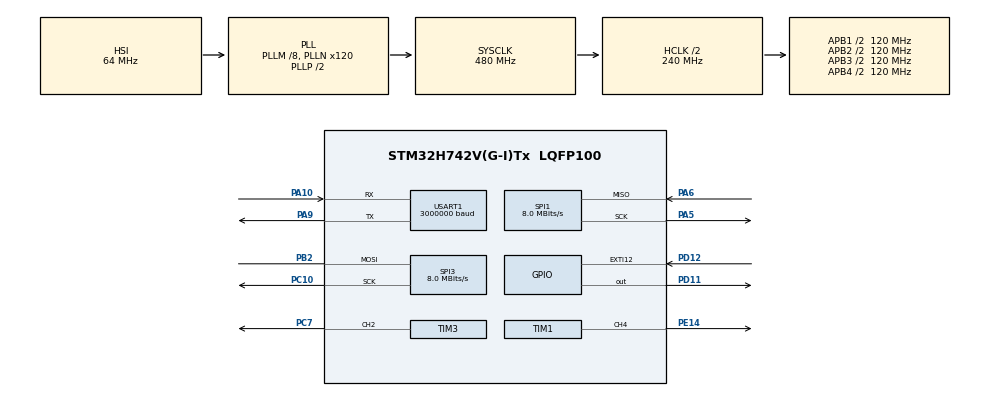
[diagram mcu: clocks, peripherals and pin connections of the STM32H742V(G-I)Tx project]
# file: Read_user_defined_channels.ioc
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CORTEX_M7.default_mode_Activation=1
Dma.Request0=SPI1_RX
Dma.Request1=USART1_TX
Dma.Request2=USART1_RX
Dma.SPI1_RX.0.Direction=DMA_PERIPH_TO_MEMORY
Dma.SPI1_RX.0.EventEnable=DISABLE
Dma.SPI1_RX.0.FIFOMode=DMA_FIFOMODE_DISABLE
Dma.SPI1_RX.0.Instance=DMA1_Stream0
Dma.SPI1_RX.0.MemDataAlignment=DMA_MDATAALIGN_HALFWORD
Dma.SPI1_RX.0.MemInc=DMA_MINC_ENABLE
Dma.SPI1_RX.0.Mode=DMA_NORMAL
Dma.SPI1_RX.0.PeriphDataAlignment=DMA_PDATAALIGN_HALFWORD
Dma.SPI1_RX.0.PeriphInc=DMA_PINC_DISABLE
Dma.SPI1_RX.0.Polarity=HAL_DMAMUX_REQ_GEN_RISING
Dma.SPI1_RX.0.Priority=DMA_PRIORITY_HIGH
Dma.SPI1_RX.0.RequestNumber=1
Dma.SPI1_RX.0.SignalID=NONE
Dma.SPI1_RX.0.SyncEnable=DISABLE
Dma.SPI1_RX.0.SyncPolarity=HAL_DMAMUX_SYNC_NO_EVENT
Dma.SPI1_RX.0.SyncRequestNumber=1
Dma.SPI1_RX.0.SyncSignalID=NONE
Dma.USART1_RX.2.Direction=DMA_PERIPH_TO_MEMORY
Dma.USART1_RX.2.EventEnable=DISABLE
Dma.USART1_RX.2.FIFOMode=DMA_FIFOMODE_DISABLE
Dma.USART1_RX.2.Instance=DMA1_Stream2
Dma.USART1_RX.2.MemDataAlignment=DMA_MDATAALIGN_BYTE
Dma.USART1_RX.2.MemInc=DMA_MINC_ENABLE
Dma.USART1_RX.2.Mode=DMA_CIRCULAR
Dma.USART1_RX.2.PeriphDataAlignment=DMA_PDATAALIGN_BYTE
Dma.USART1_RX.2.PeriphInc=DMA_PINC_DISABLE
Dma.USART1_RX.2.Polarity=HAL_DMAMUX_REQ_GEN_RISING
Dma.USART1_RX.2.Priority=DMA_PRIORITY_LOW
Dma.USART1_RX.2.RequestNumber=1
Dma.USART1_RX.2.SignalID=NONE
Dma.USART1_RX.2.SyncEnable=DISABLE
Dma.USART1_RX.2.SyncPolarity=HAL_DMAMUX_SYNC_NO_EVENT
Dma.USART1_RX.2.SyncRequestNumber=1
Dma.USART1_RX.2.SyncSignalID=NONE
Dma.USART1_TX.1.Direction=DMA_MEMORY_TO_PERIPH
Dma.USART1_TX.1.EventEnable=DISABLE
Dma.USART1_TX.1.FIFOMode=DMA_FIFOMODE_DISABLE
Dma.USART1_TX.1.Instance=DMA1_Stream1
Dma.USART1_TX.1.MemDataAlignment=DMA_MDATAALIGN_BYTE
Dma.USART1_TX.1.MemInc=DMA_MINC_ENABLE
Dma.USART1_TX.1.Mode=DMA_NORMAL
Dma.USART1_TX.1.PeriphDataAlignment=DMA_PDATAALIGN_BYTE
Dma.USART1_TX.1.PeriphInc=DMA_PINC_DISABLE
Dma.USART1_TX.1.Polarity=HAL_DMAMUX_REQ_GEN_RISING
Dma.USART1_TX.1.Priority=DMA_PRIORITY_LOW
Dma.USART1_TX.1.RequestNumber=1
Dma.USART1_TX.1.SignalID=NONE
Dma.USART1_TX.1.SyncEnable=DISABLE
Dma.USART1_TX.1.SyncPolarity=HAL_DMAMUX_SYNC_NO_EVENT
Dma.USART1_TX.1.SyncRequestNumber=1
Dma.USART1_TX.1.SyncSignalID=NONE
Mcu.Family=STM32H7
Mcu.Name=STM32H742V(G-I)Tx
Mcu.Package=LQFP100
NVIC.DMA1_Stream0_IRQn=true\:0\:0\:false\:false\:true\:false\:true\:true
NVIC.DMA1_Stream1_IRQn=true\:0\:0\:false\:false\:true\:false\:true\:true
NVIC.DMA1_Stream2_IRQn=true\:0\:0\:false\:false\:true\:false\:true\:true
NVIC.EXTI15_10_IRQn=true\:0\:0\:false\:false\:true\:true\:true\:true
NVIC.PriorityGroup=NVIC_PRIORITYGROUP_4
NVIC.SPI1_IRQn=true\:0\:0\:false\:false\:true\:false\:true\:true
NVIC.TIM2_IRQn=true\:0\:0\:false\:false\:true\:true\:true\:true
NVIC.USART1_IRQn=true\:0\:0\:false\:false\:true\:true\:true\:true
PA10.Mode=Asynchronous
PA10.Signal=USART1_RX
PA13\ (JTMS/SWDIO).Mode=Serial_Wire
PA13\ (JTMS/SWDIO).Signal=DEBUG_JTMS-SWDIO
PA14\ (JTCK/SWCLK).Mode=Serial_Wire
PA14\ (JTCK/SWCLK).Signal=DEBUG_JTCK-SWCLK
PA5.GPIO_Speed=GPIO_SPEED_FREQ_VERY_HIGH
PA5.Mode=RX_Only_Simplex_Unidirect_Master
PA5.Signal=SPI1_SCK
PA6.GPIO_Speed=GPIO_SPEED_FREQ_VERY_HIGH
PA6.Mode=RX_Only_Simplex_Unidirect_Master
PA6.Signal=SPI1_MISO
PA9.Mode=Asynchronous
PA9.Signal=USART1_TX
PB2.GPIO_Speed=GPIO_SPEED_FREQ_VERY_HIGH
PB2.Mode=Simplex_Bidirectional_Master
PB2.Signal=SPI3_MOSI
PC10.Mode=Simplex_Bidirectional_Master
PC10.Signal=SPI3_SCK
PC7.Signal=S_TIM3_CH2
PD11.PinState=GPIO_PIN_SET
PD11.Signal=GPIO_Output
PD12.GPIO_ModeDefaultEXTI=GPIO_MODE_IT_FALLING
PD12.GPIO_PuPd=GPIO_PULLUP
PD12.Signal=GPXTI12
PE14.Signal=S_TIM1_CH4
ProjectManager.HeapSize=0x200
ProjectManager.StackSize=0x400
ProjectManager.TargetToolchain=STM32CubeIDE
RCC.ADCFreq_Value=32000000
RCC.APB1Freq_Value=120000000
RCC.APB2Freq_Value=120000000
RCC.APB3Freq_Value=120000000
RCC.APB4Freq_Value=120000000
RCC.CortexFreq_Value=480000000
RCC.D1PPRE=RCC_APB3_DIV2
RCC.D2PPRE1=RCC_APB1_DIV2
RCC.D2PPRE2=RCC_APB2_DIV2
RCC.D3PPRE=RCC_APB4_DIV2
RCC.DIVM1=8
RCC.DIVM2=8
RCC.DIVN1=120
RCC.DIVN2=64
RCC.DIVP2=16
RCC.HCLKFreq_Value=240000000
RCC.HPRE=RCC_HCLK_DIV2
RCC.PLLFRACN=0
RCC.SPI123CLockSelection=RCC_SPI123CLKSOURCE_PLL2
RCC.SYSCLKFreq_VALUE=480000000
RCC.SYSCLKSource=RCC_SYSCLKSOURCE_PLLCLK
RCC.USBFreq_Value=480000000
SH.S_TIM1_CH4.0=TIM1_CH4,PWM Generation4 CH4
SH.S_TIM3_CH2.0=TIM3_CH2,PWM Generation2 CH2
SPI1.BaudRatePrescaler=SPI_BAUDRATEPRESCALER_4
SPI1.CLKPolarity=SPI_POLARITY_LOW
SPI1.CalculateBaudRate=8.0 MBits/s
SPI1.DataSize=SPI_DATASIZE_16BIT
SPI1.Direction=SPI_DIRECTION_2LINES_RXONLY
SPI1.Mode=SPI_MODE_MASTER
SPI1.VirtualType=VM_MASTER
SPI3.BaudRatePrescaler=SPI_BAUDRATEPRESCALER_4
SPI3.CLKPhase=SPI_PHASE_2EDGE
SPI3.CalculateBaudRate=8.0 MBits/s
SPI3.DataSize=SPI_DATASIZE_12BIT
SPI3.Direction=SPI_DIRECTION_1LINE
SPI3.Mode=SPI_MODE_MASTER
SPI3.VirtualType=VM_MASTER
TIM1.Channel-PWM\ Generation4\ CH4=TIM_CHANNEL_4
TIM1.Period=11
TIM1.Pulse-PWM\ Generation4\ CH4=6
TIM1.TIM_MasterOutputTrigger=TIM_TRGO_UPDATE
TIM1.TIM_MasterSlaveMode=TIM_MASTERSLAVEMODE_ENABLE
TIM2.Period=9
TIM2.Prescaler=23
TIM3.Channel-PWM\ Generation2\ CH2=TIM_CHANNEL_2
TIM3.Period=999
TIM3.Prescaler=19
TIM3.Pulse-PWM\ Generation2\ CH2=500
TIM3.TIM_MasterSlaveMode=TIM_MASTERSLAVEMODE_DISABLE
TIM5.Prescaler=239
USART1.BaudRate=3000000
USART1.VirtualMode-Asynchronous=VM_ASYNC
VP_MEMORYMAP_VS_MEMORYMAP.Mode=CurAppReg
VP_TIM1_VS_ClockSourceINT.Mode=Internal
VP_TIM2_VS_ClockSourceINT.Mode=Internal
VP_TIM3_VS_ClockSourceINT.Mode=Internal
VP_TIM3_VS_ClockSourceITR.Mode=TriggerSource_ITR0
VP_TIM3_VS_ControllerModeGated.Mode=Gated Mode
VP_TIM5_VS_ClockSourceINT.Mode=Internal
board=custom

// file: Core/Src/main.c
/* USER CODE BEGIN Header */
/**
  ******************************************************************************
  * @file           : main.c
  * @brief          : Main program body
  ******************************************************************************
  * @attention
  *
  * Copyright (c) 2025 STMicroelectronics.
  * All rights reserved.
  *
  * This software is licensed under terms that can be found in the LICENSE file
  * in the root directory of this software component.
  * If no LICENSE file comes with this software, it is provided AS-IS.
  *
  ******************************************************************************
  */
/* USER CODE END Header */

/*LEGENDA CONFIGURAZIONE PARAMETRI VIA UART*/
/**
 * "start o start,1-n_sensors" = avvio acquisizione con n_sensors selezionati
 * "stop" = stop acquisizione
 * "r" = reset leggero, ricalibrazione soglie, MSF, inetgral, max integral
 * "rd" = reset ai parametri di default del ricostruttore, ricalibrazione soglie, MSF, inetgral, max integral
 * "set,PARAMETRO,VALORE" modalità di settaggio dei parametri del ricostruttore
 * "nw" = NW
 * "thr" = Thr_samples
 * "wup" = warmup_samples
 * "pc" = press_confirm
 * "ao" = nSamples_adaptive_offset
 * "sar" = samples_after_release
 * "mp" = min_press_sensors
 * "ns" = n_sensors
 * "sig" = press_sigma
 * "a" = alpha
 * "s2n" = signal2noise_ratio
 * "rr" =release_ratio
 */

#include "main.h"

/* USER CODE BEGIN Includes */
#include <string.h>
#include <stdio.h>
#include <stdlib.h>
#include "ForceReconstructor.h"
/* USER CODE END Includes */

/* USER CODE BEGIN PTD */
#define NUM_CHANNELS 64
#define NUM_OF_DATA 32
#define HALF_NUM_OF_DATA 16
#define DIM_TEST_PACKET 8
#define MAX_SELECTED_CHANNELS NUM_CHANNELS
#define PACKET_SIZE 64
#define OFFSET 0
typedef struct __attribute__((packed)) {
    uint8_t  header[3];      // 0x3C, 0x3E, 0x00
    uint8_t n_channels;
    uint32_t timestamp_us;   // from TIM5
    int16_t  ch[PACKET_SIZE];         // channels
    uint16_t  force[N_SENSORS];      // force values
} SamplePacket;

/* USER CODE END PTD */

SPI_HandleTypeDef hspi1;
SPI_HandleTypeDef hspi3;
DMA_HandleTypeDef hdma_spi1_rx;

TIM_HandleTypeDef htim1;
TIM_HandleTypeDef htim2;
TIM_HandleTypeDef htim3;
TIM_HandleTypeDef htim5;

UART_HandleTypeDef huart1;
DMA_HandleTypeDef hdma_usart1_tx;
DMA_HandleTypeDef hdma_usart1_rx;

/* USER CODE BEGIN PV */
// --- System state flags ---
volatile uint8_t delay_counter = 0;		// Used during the TIM2 startup sequence (test/init logic)
volatile uint8_t acq_enabled   = 0;      // Acquisition enable/disable flag (controlled via UART commands)
volatile uint8_t uart_tx_done  = 1;      // UART DMA transmission ready flag
volatile uint16_t old_pos = 0;

// --- SPI Data Buffers ---
volatile uint16_t rx_spi_buffer[NUM_OF_DATA];   // Buffer used only for the initial test pattern sequence
volatile uint16_t spi_rx_buffer[NUM_CHANNELS];  // Main SPI data buffer (64 channels), filled by DMA

// --- Test pattern verification buffers ---
uint8_t test_packet_1[DIM_TEST_PACKET];         // Extracted bytes from the first half of rx_spi_buffer
uint8_t test_packet_2[DIM_TEST_PACKET];         // Extracted bytes from the second half of rx_spi_buffer

// Reference test packet used to validate ADC test mode output
static const uint8_t ref_packet[DIM_TEST_PACKET] =
    {0x30,0x00,0x66,0xF0,0x24,0x01,0xF6,0x80};

// --- DDC232 Configuration Command ---
static const uint16_t value = 0xEC0;    // 12-bit configuration command sent via SPI3

// --- UART Transmission Packet ---
static SamplePacket pkt;                // DMA-safe data packet (static to avoid stack corruption)

// --- UART Receive Buffers ---
#define CMD_BUFFER_SIZE 128
uint8_t uart_rx_dma_buffer[CMD_BUFFER_SIZE];
char command_buffer[CMD_BUFFER_SIZE];

uint8_t channel_mask[NUM_CHANNELS];   // 1 = canale attivo
uint8_t num_active_channels = 0;

// --- Force Reconstructor ---
ForceReconstructor force_reconstructor;
float force_input[N_SENSORS];
static uint8_t tx_buffer[sizeof(SamplePacket)]; // Buffer for UART transmission (DMA-safe)
static uint16_t spi_rx_snapshot[NUM_CHANNELS]; // Snapshot of SPI data for processing (DMA-safe)
/* USER CODE END PV */

void SystemClock_Config(void);
void PeriphCommonClock_Config(void);
static void MPU_Config(void);
static void MX_GPIO_Init(void);
static void MX_DMA_Init(void);
static void MX_TIM2_Init(void);
static void MX_USART1_UART_Init(void);
static void MX_SPI3_Init(void);
static void MX_SPI1_Init(void);
static void MX_TIM1_Init(void);
static void MX_TIM3_Init(void);
static void MX_TIM5_Init(void);
/* USER CODE BEGIN PFP */
static void enable_all_channels(void);
void parse_start_command(char *cmd);
/* USER CODE END PFP */

int main(void)
{

  /* MPU Configuration--------------------------------------------------------*/
  MPU_Config();

  /* MCU Configuration--------------------------------------------------------*/

  /* Reset of all peripherals, Initializes the Flash interface and the Systick. */
  HAL_Init();

  /* Configure the system clock */
  SystemClock_Config();

  /* Configure the peripherals common clocks */
  PeriphCommonClock_Config();

  /* Initialize all configured peripherals */
  MX_GPIO_Init();
  MX_DMA_Init();
  MX_TIM2_Init();
  MX_USART1_UART_Init();
  MX_SPI3_Init();
  MX_SPI1_Init();
  MX_TIM1_Init();
  MX_TIM3_Init();
  MX_TIM5_Init();
  ForceReconstructor_Init(&force_reconstructor);
  /* USER CODE BEGIN 2 */
  HAL_UART_Receive_DMA(&huart1, uart_rx_dma_buffer, CMD_BUFFER_SIZE);
  __HAL_UART_ENABLE_IT(&huart1, UART_IT_IDLE);
  HAL_TIM_PWM_Start(&htim1, TIM_CHANNEL_4);
  HAL_TIM_Base_Start(&htim5);
  /* USER CODE END 2 */

  /* Infinite loop */
  while (1)
  {

  }
}

void SystemClock_Config(void)
{
  RCC_OscInitTypeDef RCC_OscInitStruct = {0};
  RCC_ClkInitTypeDef RCC_ClkInitStruct = {0};

  /** Supply configuration update enable
  */
  HAL_PWREx_ConfigSupply(PWR_LDO_SUPPLY);

  /** Configure the main internal regulator output voltage
  */
  __HAL_PWR_VOLTAGESCALING_CONFIG(PWR_REGULATOR_VOLTAGE_SCALE0);

  while(!__HAL_PWR_GET_FLAG(PWR_FLAG_VOSRDY)) {}

  /** Initializes the RCC Oscillators according to the specified parameters
  * in the RCC_OscInitTypeDef structure.
  */
  RCC_OscInitStruct.OscillatorType = RCC_OSCILLATORTYPE_HSI;
  RCC_OscInitStruct.HSIState = RCC_HSI_DIV1;
  RCC_OscInitStruct.HSICalibrationValue = RCC_HSICALIBRATION_DEFAULT;
  RCC_OscInitStruct.PLL.PLLState = RCC_PLL_ON;
  RCC_OscInitStruct.PLL.PLLSource = RCC_PLLSOURCE_HSI;
  RCC_OscInitStruct.PLL.PLLM = 8;
  RCC_OscInitStruct.PLL.PLLN = 120;
  RCC_OscInitStruct.PLL.PLLP = 2;
  RCC_OscInitStruct.PLL.PLLQ = 2;
  RCC_OscInitStruct.PLL.PLLR = 2;
  RCC_OscInitStruct.PLL.PLLRGE = RCC_PLL1VCIRANGE_3;
  RCC_OscInitStruct.PLL.PLLVCOSEL = RCC_PLL1VCOWIDE;
  RCC_OscInitStruct.PLL.PLLFRACN = 0;
  if (HAL_RCC_OscConfig(&RCC_OscInitStruct) != HAL_OK)
  {
    Error_Handler();
  }

  /** Initializes the CPU, AHB and APB buses clocks
  */
  RCC_ClkInitStruct.ClockType = RCC_CLOCKTYPE_HCLK|RCC_CLOCKTYPE_SYSCLK
                              |RCC_CLOCKTYPE_PCLK1|RCC_CLOCKTYPE_PCLK2
                              |RCC_CLOCKTYPE_D3PCLK1|RCC_CLOCKTYPE_D1PCLK1;
  RCC_ClkInitStruct.SYSCLKSource = RCC_SYSCLKSOURCE_PLLCLK;
  RCC_ClkInitStruct.SYSCLKDivider = RCC_SYSCLK_DIV1;
  RCC_ClkInitStruct.AHBCLKDivider = RCC_HCLK_DIV2;
  RCC_ClkInitStruct.APB3CLKDivider = RCC_APB3_DIV2;
  RCC_ClkInitStruct.APB1CLKDivider = RCC_APB1_DIV2;
  RCC_ClkInitStruct.APB2CLKDivider = RCC_APB2_DIV2;
  RCC_ClkInitStruct.APB4CLKDivider = RCC_APB4_DIV2;

  if (HAL_RCC_ClockConfig(&RCC_ClkInitStruct, FLASH_LATENCY_4) != HAL_OK)
  {
    Error_Handler();
  }
}

void PeriphCommonClock_Config(void)
{
  RCC_PeriphCLKInitTypeDef PeriphClkInitStruct = {0};

  /** Initializes the peripherals clock
  */
  PeriphClkInitStruct.PeriphClockSelection = RCC_PERIPHCLK_SPI3|RCC_PERIPHCLK_SPI1;
  PeriphClkInitStruct.PLL2.PLL2M = 8;
  PeriphClkInitStruct.PLL2.PLL2N = 64;
  PeriphClkInitStruct.PLL2.PLL2P = 16;
  PeriphClkInitStruct.PLL2.PLL2Q = 2;
  PeriphClkInitStruct.PLL2.PLL2R = 2;
  PeriphClkInitStruct.PLL2.PLL2RGE = RCC_PLL2VCIRANGE_3;
  PeriphClkInitStruct.PLL2.PLL2VCOSEL = RCC_PLL2VCOWIDE;
  PeriphClkInitStruct.PLL2.PLL2FRACN = 0;
  PeriphClkInitStruct.Spi123ClockSelection = RCC_SPI123CLKSOURCE_PLL2;
  if (HAL_RCCEx_PeriphCLKConfig(&PeriphClkInitStruct) != HAL_OK)
  {
    Error_Handler();
  }
}

static void MX_SPI1_Init(void)
{

  /* SPI1 parameter configuration*/
  hspi1.Instance = SPI1;
  hspi1.Init.Mode = SPI_MODE_MASTER;
  hspi1.Init.Direction = SPI_DIRECTION_2LINES_RXONLY;
  hspi1.Init.DataSize = SPI_DATASIZE_16BIT;
  hspi1.Init.CLKPolarity = SPI_POLARITY_LOW;
  hspi1.Init.CLKPhase = SPI_PHASE_1EDGE;
  hspi1.Init.NSS = SPI_NSS_SOFT;
  hspi1.Init.BaudRatePrescaler = SPI_BAUDRATEPRESCALER_4;
  hspi1.Init.FirstBit = SPI_FIRSTBIT_MSB;
  hspi1.Init.TIMode = SPI_TIMODE_DISABLE;
  hspi1.Init.CRCCalculation = SPI_CRCCALCULATION_DISABLE;
  hspi1.Init.CRCPolynomial = 0x0;
  hspi1.Init.NSSPMode = SPI_NSS_PULSE_ENABLE;
  hspi1.Init.NSSPolarity = SPI_NSS_POLARITY_LOW;
  hspi1.Init.FifoThreshold = SPI_FIFO_THRESHOLD_01DATA;
  hspi1.Init.TxCRCInitializationPattern = SPI_CRC_INITIALIZATION_ALL_ZERO_PATTERN;
  hspi1.Init.RxCRCInitializationPattern = SPI_CRC_INITIALIZATION_ALL_ZERO_PATTERN;
  hspi1.Init.MasterSSIdleness = SPI_MASTER_SS_IDLENESS_00CYCLE;
  hspi1.Init.MasterInterDataIdleness = SPI_MASTER_INTERDATA_IDLENESS_00CYCLE;
  hspi1.Init.MasterReceiverAutoSusp = SPI_MASTER_RX_AUTOSUSP_DISABLE;
  hspi1.Init.MasterKeepIOState = SPI_MASTER_KEEP_IO_STATE_DISABLE;
  hspi1.Init.IOSwap = SPI_IO_SWAP_DISABLE;
  if (HAL_SPI_Init(&hspi1) != HAL_OK)
  {
    Error_Handler();
  }

}

static void MX_SPI3_Init(void)
{

  /* SPI3 parameter configuration*/
  hspi3.Instance = SPI3;
  hspi3.Init.Mode = SPI_MODE_MASTER;
  hspi3.Init.Direction = SPI_DIRECTION_1LINE;
  hspi3.Init.DataSize = SPI_DATASIZE_12BIT;
  hspi3.Init.CLKPolarity = SPI_POLARITY_LOW;
  hspi3.Init.CLKPhase = SPI_PHASE_2EDGE;
  hspi3.Init.NSS = SPI_NSS_SOFT;
  hspi3.Init.BaudRatePrescaler = SPI_BAUDRATEPRESCALER_4;
  hspi3.Init.FirstBit = SPI_FIRSTBIT_MSB;
  hspi3.Init.TIMode = SPI_TIMODE_DISABLE;
  hspi3.Init.CRCCalculation = SPI_CRCCALCULATION_DISABLE;
  hspi3.Init.CRCPolynomial = 0x0;
  hspi3.Init.NSSPMode = SPI_NSS_PULSE_ENABLE;
  hspi3.Init.NSSPolarity = SPI_NSS_POLARITY_LOW;
  hspi3.Init.FifoThreshold = SPI_FIFO_THRESHOLD_01DATA;
  hspi3.Init.TxCRCInitializationPattern = SPI_CRC_INITIALIZATION_ALL_ZERO_PATTERN;
  hspi3.Init.RxCRCInitializationPattern = SPI_CRC_INITIALIZATION_ALL_ZERO_PATTERN;
  hspi3.Init.MasterSSIdleness = SPI_MASTER_SS_IDLENESS_00CYCLE;
  hspi3.Init.MasterInterDataIdleness = SPI_MASTER_INTERDATA_IDLENESS_00CYCLE;
  hspi3.Init.MasterReceiverAutoSusp = SPI_MASTER_RX_AUTOSUSP_DISABLE;
  hspi3.Init.MasterKeepIOState = SPI_MASTER_KEEP_IO_STATE_DISABLE;
  hspi3.Init.IOSwap = SPI_IO_SWAP_DISABLE;
  if (HAL_SPI_Init(&hspi3) != HAL_OK)
  {
    Error_Handler();
  }

}

static void MX_TIM1_Init(void)
{

  TIM_ClockConfigTypeDef sClockSourceConfig = {0};
  TIM_MasterConfigTypeDef sMasterConfig = {0};
  TIM_OC_InitTypeDef sConfigOC = {0};
  TIM_BreakDeadTimeConfigTypeDef sBreakDeadTimeConfig = {0};

  htim1.Instance = TIM1;
  htim1.Init.Prescaler = 0;
  htim1.Init.CounterMode = TIM_COUNTERMODE_UP;
  htim1.Init.Period = 11;
  htim1.Init.ClockDivision = TIM_CLOCKDIVISION_DIV1;
  htim1.Init.RepetitionCounter = 0;
  htim1.Init.AutoReloadPreload = TIM_AUTORELOAD_PRELOAD_DISABLE;
  if (HAL_TIM_Base_Init(&htim1) != HAL_OK)
  {
    Error_Handler();
  }
  sClockSourceConfig.ClockSource = TIM_CLOCKSOURCE_INTERNAL;
  if (HAL_TIM_ConfigClockSource(&htim1, &sClockSourceConfig) != HAL_OK)
  {
    Error_Handler();
  }
  if (HAL_TIM_PWM_Init(&htim1) != HAL_OK)
  {
    Error_Handler();
  }
  sMasterConfig.MasterOutputTrigger = TIM_TRGO_UPDATE;
  sMasterConfig.MasterOutputTrigger2 = TIM_TRGO2_RESET;
  sMasterConfig.MasterSlaveMode = TIM_MASTERSLAVEMODE_ENABLE;
  if (HAL_TIMEx_MasterConfigSynchronization(&htim1, &sMasterConfig) != HAL_OK)
  {
    Error_Handler();
  }
  sConfigOC.OCMode = TIM_OCMODE_PWM1;
  sConfigOC.Pulse = 6;
  sConfigOC.OCPolarity = TIM_OCPOLARITY_HIGH;
  sConfigOC.OCFastMode = TIM_OCFAST_DISABLE;
  sConfigOC.OCIdleState = TIM_OCIDLESTATE_RESET;
  sConfigOC.OCNIdleState = TIM_OCNIDLESTATE_RESET;
  if (HAL_TIM_PWM_ConfigChannel(&htim1, &sConfigOC, TIM_CHANNEL_4) != HAL_OK)
  {
    Error_Handler();
  }
  sBreakDeadTimeConfig.OffStateRunMode = TIM_OSSR_DISABLE;
  sBreakDeadTimeConfig.OffStateIDLEMode = TIM_OSSI_DISABLE;
  sBreakDeadTimeConfig.LockLevel = TIM_LOCKLEVEL_OFF;
  sBreakDeadTimeConfig.DeadTime = 0;
  sBreakDeadTimeConfig.BreakState = TIM_BREAK_DISABLE;
  sBreakDeadTimeConfig.BreakPolarity = TIM_BREAKPOLARITY_HIGH;
  sBreakDeadTimeConfig.BreakFilter = 0;
  sBreakDeadTimeConfig.Break2State = TIM_BREAK2_DISABLE;
  sBreakDeadTimeConfig.Break2Polarity = TIM_BREAK2POLARITY_HIGH;
  sBreakDeadTimeConfig.Break2Filter = 0;
  sBreakDeadTimeConfig.AutomaticOutput = TIM_AUTOMATICOUTPUT_DISABLE;
  if (HAL_TIMEx_ConfigBreakDeadTime(&htim1, &sBreakDeadTimeConfig) != HAL_OK)
  {
    Error_Handler();
  }
  HAL_TIM_MspPostInit(&htim1);

}

static void MX_TIM2_Init(void)
{

  TIM_ClockConfigTypeDef sClockSourceConfig = {0};
  TIM_MasterConfigTypeDef sMasterConfig = {0};

  htim2.Instance = TIM2;
  htim2.Init.Prescaler = 23;
  htim2.Init.CounterMode = TIM_COUNTERMODE_UP;
  htim2.Init.Period = 9;
  htim2.Init.ClockDivision = TIM_CLOCKDIVISION_DIV1;
  htim2.Init.AutoReloadPreload = TIM_AUTORELOAD_PRELOAD_DISABLE;
  if (HAL_TIM_Base_Init(&htim2) != HAL_OK)
  {
    Error_Handler();
  }
  sClockSourceConfig.ClockSource = TIM_CLOCKSOURCE_INTERNAL;
  if (HAL_TIM_ConfigClockSource(&htim2, &sClockSourceConfig) != HAL_OK)
  {
    Error_Handler();
  }
  sMasterConfig.MasterOutputTrigger = TIM_TRGO_RESET;
  sMasterConfig.MasterSlaveMode = TIM_MASTERSLAVEMODE_DISABLE;
  if (HAL_TIMEx_MasterConfigSynchronization(&htim2, &sMasterConfig) != HAL_OK)
  {
    Error_Handler();
  }

}

static void MX_TIM3_Init(void)
{

  TIM_ClockConfigTypeDef sClockSourceConfig = {0};
  TIM_SlaveConfigTypeDef sSlaveConfig = {0};
  TIM_MasterConfigTypeDef sMasterConfig = {0};
  TIM_OC_InitTypeDef sConfigOC = {0};

  htim3.Instance = TIM3;
  htim3.Init.Prescaler = 19;
  htim3.Init.CounterMode = TIM_COUNTERMODE_UP;
  htim3.Init.Period = 999;
  htim3.Init.ClockDivision = TIM_CLOCKDIVISION_DIV1;
  htim3.Init.AutoReloadPreload = TIM_AUTORELOAD_PRELOAD_DISABLE;
  if (HAL_TIM_Base_Init(&htim3) != HAL_OK)
  {
    Error_Handler();
  }
  sClockSourceConfig.ClockSource = TIM_CLOCKSOURCE_INTERNAL;
  if (HAL_TIM_ConfigClockSource(&htim3, &sClockSourceConfig) != HAL_OK)
  {
    Error_Handler();
  }
  if (HAL_TIM_PWM_Init(&htim3) != HAL_OK)
  {
    Error_Handler();
  }
  sSlaveConfig.SlaveMode = TIM_SLAVEMODE_GATED;
  sSlaveConfig.InputTrigger = TIM_TS_ITR0;
  if (HAL_TIM_SlaveConfigSynchro(&htim3, &sSlaveConfig) != HAL_OK)
  {
    Error_Handler();
  }
  sMasterConfig.MasterOutputTrigger = TIM_TRGO_RESET;
  sMasterConfig.MasterSlaveMode = TIM_MASTERSLAVEMODE_DISABLE;
  if (HAL_TIMEx_MasterConfigSynchronization(&htim3, &sMasterConfig) != HAL_OK)
  {
    Error_Handler();
  }
  sConfigOC.OCMode = TIM_OCMODE_PWM1;
  sConfigOC.Pulse = 500;
  sConfigOC.OCPolarity = TIM_OCPOLARITY_HIGH;
  sConfigOC.OCFastMode = TIM_OCFAST_DISABLE;
  if (HAL_TIM_PWM_ConfigChannel(&htim3, &sConfigOC, TIM_CHANNEL_2) != HAL_OK)
  {
    Error_Handler();
  }
  HAL_TIM_MspPostInit(&htim3);

}

static void MX_TIM5_Init(void)
{

  TIM_ClockConfigTypeDef sClockSourceConfig = {0};
  TIM_MasterConfigTypeDef sMasterConfig = {0};

  htim5.Instance = TIM5;
  htim5.Init.Prescaler = 239;
  htim5.Init.CounterMode = TIM_COUNTERMODE_UP;
  htim5.Init.Period = 4294967295;
  htim5.Init.ClockDivision = TIM_CLOCKDIVISION_DIV1;
  htim5.Init.AutoReloadPreload = TIM_AUTORELOAD_PRELOAD_DISABLE;
  if (HAL_TIM_Base_Init(&htim5) != HAL_OK)
  {
    Error_Handler();
  }
  sClockSourceConfig.ClockSource = TIM_CLOCKSOURCE_INTERNAL;
  if (HAL_TIM_ConfigClockSource(&htim5, &sClockSourceConfig) != HAL_OK)
  {
    Error_Handler();
  }
  sMasterConfig.MasterOutputTrigger = TIM_TRGO_RESET;
  sMasterConfig.MasterSlaveMode = TIM_MASTERSLAVEMODE_DISABLE;
  if (HAL_TIMEx_MasterConfigSynchronization(&htim5, &sMasterConfig) != HAL_OK)
  {
    Error_Handler();
  }

}

static void MX_USART1_UART_Init(void)
{

  huart1.Instance = USART1;
  huart1.Init.BaudRate = 3000000;
  huart1.Init.WordLength = UART_WORDLENGTH_8B;
  huart1.Init.StopBits = UART_STOPBITS_1;
  huart1.Init.Parity = UART_PARITY_NONE;
  huart1.Init.Mode = UART_MODE_TX_RX;
  huart1.Init.HwFlowCtl = UART_HWCONTROL_NONE;
  huart1.Init.OverSampling = UART_OVERSAMPLING_16;
  huart1.Init.OneBitSampling = UART_ONE_BIT_SAMPLE_DISABLE;
  huart1.Init.ClockPrescaler = UART_PRESCALER_DIV1;
  huart1.AdvancedInit.AdvFeatureInit = UART_ADVFEATURE_NO_INIT;
  if (HAL_UART_Init(&huart1) != HAL_OK)
  {
    Error_Handler();
  }
  if (HAL_UARTEx_SetTxFifoThreshold(&huart1, UART_TXFIFO_THRESHOLD_1_8) != HAL_OK)
  {
    Error_Handler();
  }
  if (HAL_UARTEx_SetRxFifoThreshold(&huart1, UART_RXFIFO_THRESHOLD_1_8) != HAL_OK)
  {
    Error_Handler();
  }
  if (HAL_UARTEx_DisableFifoMode(&huart1) != HAL_OK)
  {
    Error_Handler();
  }

}

static void MX_DMA_Init(void)
{

  /* DMA controller clock enable */
  __HAL_RCC_DMA1_CLK_ENABLE();

  /* DMA interrupt init */
  /* DMA1_Stream0_IRQn interrupt configuration */
  HAL_NVIC_SetPriority(DMA1_Stream0_IRQn, 0, 0);
  HAL_NVIC_EnableIRQ(DMA1_Stream0_IRQn);
  /* DMA1_Stream1_IRQn interrupt configuration */
  HAL_NVIC_SetPriority(DMA1_Stream1_IRQn, 0, 0);
  HAL_NVIC_EnableIRQ(DMA1_Stream1_IRQn);
  /* DMA1_Stream2_IRQn interrupt configuration */
  HAL_NVIC_SetPriority(DMA1_Stream2_IRQn, 0, 0);
  HAL_NVIC_EnableIRQ(DMA1_Stream2_IRQn);

}

static void MX_GPIO_Init(void)
{
  GPIO_InitTypeDef GPIO_InitStruct = {0};

  /* GPIO Ports Clock Enable */
  __HAL_RCC_GPIOA_CLK_ENABLE();
  __HAL_RCC_GPIOB_CLK_ENABLE();
  __HAL_RCC_GPIOE_CLK_ENABLE();
  __HAL_RCC_GPIOD_CLK_ENABLE();
  __HAL_RCC_GPIOC_CLK_ENABLE();

  /*Configure GPIO pin Output Level */
  HAL_GPIO_WritePin(GPIOD, GPIO_PIN_11, GPIO_PIN_SET);

  /*Configure GPIO pin : PD11 */
  GPIO_InitStruct.Pin = GPIO_PIN_11;
  GPIO_InitStruct.Mode = GPIO_MODE_OUTPUT_PP;
  GPIO_InitStruct.Pull = GPIO_NOPULL;
  GPIO_InitStruct.Speed = GPIO_SPEED_FREQ_LOW;
  HAL_GPIO_Init(GPIOD, &GPIO_InitStruct);

  /*Configure GPIO pin : PD12 */
  GPIO_InitStruct.Pin = GPIO_PIN_12;
  GPIO_InitStruct.Mode = GPIO_MODE_IT_FALLING;
  GPIO_InitStruct.Pull = GPIO_PULLUP;
  HAL_GPIO_Init(GPIOD, &GPIO_InitStruct);

  /* EXTI interrupt init*/
  HAL_NVIC_SetPriority(EXTI15_10_IRQn, 0, 0);
  HAL_NVIC_EnableIRQ(EXTI15_10_IRQn);

  /* USER CODE BEGIN MX_GPIO_Init_2 */
  /* UART1 */
  GPIO_InitStruct.Pin = GPIO_PIN_9 | GPIO_PIN_10;
  GPIO_InitStruct.Mode = GPIO_MODE_AF_PP;
  GPIO_InitStruct.Pull = GPIO_NOPULL;
  GPIO_InitStruct.Speed = GPIO_SPEED_FREQ_VERY_HIGH;
  GPIO_InitStruct.Alternate = GPIO_AF7_USART1;
  HAL_GPIO_Init(GPIOA, &GPIO_InitStruct);

  /* CONV ON PC7 */
  GPIO_InitStruct.Pin = GPIO_PIN_7;
  GPIO_InitStruct.Mode = GPIO_MODE_AF_PP;
  GPIO_InitStruct.Pull = GPIO_NOPULL;
  GPIO_InitStruct.Speed = GPIO_SPEED_FREQ_VERY_HIGH;
  GPIO_InitStruct.Alternate = GPIO_AF2_TIM3;
  HAL_GPIO_Init(GPIOC, &GPIO_InitStruct);

  /* CLK ON PE14 */
  GPIO_InitStruct.Pin = GPIO_PIN_14;
  GPIO_InitStruct.Mode = GPIO_MODE_AF_PP;
  GPIO_InitStruct.Pull = GPIO_NOPULL;
  GPIO_InitStruct.Speed = GPIO_SPEED_FREQ_VERY_HIGH;
  GPIO_InitStruct.Alternate = GPIO_AF13_TIM1;
  HAL_GPIO_Init(GPIOE, &GPIO_InitStruct);

  /* USER CODE END MX_GPIO_Init_2 */
}

/* USER CODE BEGIN 4 */

void HAL_TIM_PeriodElapsedCallback(TIM_HandleTypeDef *htim)
{
    if (htim->Instance != TIM2) return;

    switch(delay_counter)
    {
        case 1:
        {
        	HAL_GPIO_WritePin(GPIOD, GPIO_PIN_11, GPIO_PIN_SET);
        	break;
        }
        case 3:
        {
        	HAL_SPI_Transmit(&hspi3, (uint8_t*)&value, 1, HAL_MAX_DELAY);
        	break;
        }
        case 6:
        {
        	HAL_SPI_Receive(&hspi1, (uint8_t*)&rx_spi_buffer, NUM_OF_DATA, HAL_MAX_DELAY);
        	uint8_t *raw = (uint8_t*)rx_spi_buffer;

		  for(int i=0; i<DIM_TEST_PACKET; i++)
		  {
			  test_packet_1[i] = raw[(HALF_NUM_OF_DATA*2 - DIM_TEST_PACKET) + i];
		  }

		  for(int i=0; i<DIM_TEST_PACKET; i++)
		  {
			  test_packet_2[i] = raw[(NUM_OF_DATA*2 - DIM_TEST_PACKET) + i];
		  }

		  uint8_t match = (memcmp(test_packet_1, test_packet_2, DIM_TEST_PACKET) == 0);

		  uint8_t match_ref = (memcmp(test_packet_1, ref_packet, DIM_TEST_PACKET) == 0);

		  if(match && match_ref)
		  {
			  HAL_UART_Transmit(&huart1, (uint8_t*)"OK\r\n", 4, HAL_MAX_DELAY);
			  HAL_TIM_PWM_Start(&htim3, TIM_CHANNEL_2);
		  }
		  HAL_TIM_Base_Stop_IT(&htim2);
		  HAL_NVIC_DisableIRQ(TIM2_IRQn);
		  break;
        }
        default: break;
    }
    delay_counter++;
}

void HAL_GPIO_EXTI_Callback(uint16_t GPIO_Pin)
{
    if (GPIO_Pin == GPIO_PIN_12 && acq_enabled)
    {
        if (HAL_SPI_GetState(&hspi1) == HAL_SPI_STATE_READY)
        {
            HAL_SPI_Receive_DMA(&hspi1, (uint8_t*)spi_rx_buffer, NUM_CHANNELS);
        }
    }
}

void HAL_SPI_RxCpltCallback(SPI_HandleTypeDef *hspi)
{
    if(hspi->Instance == SPI1 && uart_tx_done && acq_enabled)
    {

      memcpy(spi_rx_snapshot, spi_rx_buffer, sizeof(spi_rx_snapshot)); //si lavora su una copia dei dati

      //Preparo i dati per il force reconstructor
      for(uint8_t i = 0; i < force_reconstructor.n_sensors; i++)
      {
          force_input[i] = (float)spi_rx_snapshot[i];
      }

      integral_step(&force_reconstructor, force_input); //ricostruzione della forza

      // Header
      pkt.header[0] = 0x3C;
      pkt.header[1] = 0x3E;
      pkt.header[2] = 0x00;

      // Timestamp (µs)
      pkt.timestamp_us = __HAL_TIM_GET_COUNTER(&htim5);

      uint8_t idx = 0;

      for (int i = 0; i < NUM_CHANNELS; i++)
      {
        if (channel_mask[i])
        {
          pkt.ch[idx++] = __builtin_bswap16(spi_rx_buffer[i]);
        }
      }
      pkt.n_channels = idx;

      for(uint8_t i = 0; i < force_reconstructor.n_sensors; i++)
      {
        float force = force_reconstructor.current_output[i];

        uint16_t force_uint16 = (uint16_t)round(force * 65535.0f);

        pkt.force[i] = __builtin_bswap16(force_uint16);
      }

      //Assemblo il pacchetto e lo invio via UART
      uint16_t header_and_info_size = sizeof(pkt.header) + sizeof(pkt.n_channels) + sizeof(pkt.timestamp_us);
      uint16_t channels_size = idx * sizeof(int16_t);
      uint16_t force_size = force_reconstructor.n_sensors * sizeof(uint16_t);
      uint16_t offset = 0;

      // Copia Header, n_channels e Timestamp
      memcpy(&tx_buffer[offset], &pkt, header_and_info_size);
      offset += header_and_info_size;

      // Copia solo i canali attivi (idx elementi)
      memcpy(&tx_buffer[offset], pkt.ch, channels_size);
      offset += channels_size;

      // Copia gli 8 valori di forza subito dopo i canali attivi
      memcpy(&tx_buffer[offset], pkt.force, force_size);
      offset += force_size;

      uart_tx_done = 0;
      HAL_UART_Transmit_DMA(&huart1, tx_buffer, offset);

    }
}

void HAL_UART_TxCpltCallback(UART_HandleTypeDef *huart)
{
    if(huart->Instance == USART1)
    {
        uart_tx_done = 1; // pronto per prossima trasmissione
    }
}

void parse_start_command(char *cmd)
{
    // reset
    memset(channel_mask, 0, sizeof(channel_mask));
    num_active_channels = 0;
    reset_all(&force_reconstructor); //azzera integral, max_integral, FSM e rilancia calibrazione soglie

    char *p = strchr(cmd, ',');
    if (!p)
    {
        // solo "start"
        enable_all_channels();
        return;
    }

    p++; // dopo "start,"

    while (*p && num_active_channels < MAX_SELECTED_CHANNELS)
    {
        int a = 0, b = 0;

        if (sscanf(p, "%d-%d", &a, &b) == 2)
        {
            if (a < 1) a = 1;
            if (b > NUM_CHANNELS) b = NUM_CHANNELS;

            for (int i = a; i <= b; i++)
            {
                if (!channel_mask[i-1])
                {
                    channel_mask[i-1] = 1;
                    num_active_channels++;
                }
            }
        }
        else if (sscanf(p, "%d", &a) == 1)
        {
            if (a >= 1 && a <= NUM_CHANNELS && !channel_mask[a-1])
            {
                channel_mask[a-1] = 1;
                num_active_channels++;
            }
        }

        // vai al prossimo token
        p = strchr(p, ',');
        if (!p) break;
        p++;
    }
}

void parse_configuration_command(char *cmd)
{
    char parameter[32];

    char *p = strchr(cmd, ','); //cerca la prima virgola
    if (!p) return;

    p++;  // dopo "set,"

    char *value_str = strchr(p, ','); //cerca la seconda virgola
    if (!value_str) return;

    size_t param_len = value_str - p; // lunghezza del parametro serve a evitare parametri vuoti o troppo lunghi (parameter[32])

    if (param_len == 0 || param_len >= sizeof(parameter))
        return;

    strncpy(parameter, p, param_len); // copia il parametro in un buffer locale
    parameter[param_len] = '\0'; //

    value_str++;   // punta al valore

    // --- PARAMETRI INTERI ---
    if (strcmp(parameter, "nw") == 0)
    {
        uint16_t v = (uint16_t)atoi(value_str);

        if (v < 1)
            v = 1;

        force_reconstructor.NW = v;
    }

    else if (strcmp(parameter, "thr") == 0)
    {
        uint16_t v = (uint16_t)atoi(value_str);

        if (v < 10)
            v = 10;

        if (v > THR_SAMPLES)
            v = THR_SAMPLES;

        force_reconstructor.Thr_samples = v;

        if (force_reconstructor.nSamples_adaptive_offset > v)
        {
            force_reconstructor.nSamples_adaptive_offset = v;
        }
    }

    else if (strcmp(parameter, "wup") == 0)
    {
        uint16_t v = (uint16_t)atoi(value_str);

        force_reconstructor.warmup_samples = v;
    }

    else if (strcmp(parameter, "pc") == 0)
    {
        uint8_t v = (uint8_t)atoi(value_str);

        if (v < 1)
            v = 1;

        force_reconstructor.press_confirm = v;
    }

    else if (strcmp(parameter, "ao") == 0)
    {
        uint16_t v = (uint16_t)atoi(value_str);

        if (v < 1)
            v = 1;

        if (v > OFFSET_SAMPLES)
            v = OFFSET_SAMPLES;

        if (v > force_reconstructor.Thr_samples)
            v = force_reconstructor.Thr_samples;

        force_reconstructor.nSamples_adaptive_offset = v;
    }

    else if (strcmp(parameter, "sar") == 0)
    {
        uint16_t v = (uint16_t)atoi(value_str);

        force_reconstructor.samples_after_release = v;
    }

    else if (strcmp(parameter, "mp") == 0)
    {
        uint8_t v = (uint8_t)atoi(value_str);

        if (v < 1)
            v = 1;

        if (v > force_reconstructor.n_sensors)
            v = force_reconstructor.n_sensors;

        force_reconstructor.min_press_sensors = v;
    }

    else if (strcmp(parameter, "ns") == 0)
    {
        uint8_t v = (uint8_t)atoi(value_str);

        if (v < 1)
            v = 1;

        if (v > N_SENSORS)
            v = N_SENSORS;

        force_reconstructor.n_sensors = v;

        if (force_reconstructor.min_press_sensors > v)
        {
            force_reconstructor.min_press_sensors = v;
        }
    }

    // --- PARAMETRI FLOAT ---
    //separo parte intera e decimale
    else if (strcmp(parameter, "sig") == 0)
    {
        float v = 0.0f;

        int integer_part = 0;
        int decimal_part = 0;
        int decimal_digits = 0;
        int sign = 1;

        if (*value_str == '-')
        {
            sign = -1;
            value_str++;
        }

        while (*value_str >= '0' && *value_str <= '9')
        {
            integer_part = integer_part * 10 + (*value_str - '0');
            value_str++;
        }

        if (*value_str == '.')
        {
            value_str++;

            while (*value_str >= '0' && *value_str <= '9')
            {
                decimal_part = decimal_part * 10 + (*value_str - '0');
                decimal_digits++;
                value_str++;
            }
        }

        v = (float)integer_part;

        if (decimal_digits > 0)
        {
            float divisor = 1.0f;

            for (int i = 0; i < decimal_digits; i++)
                divisor *= 10.0f;

            v += (float)decimal_part / divisor;
        }

        v *= (float)sign;

        if (v < 0.0f)
            v = 0.0f;

        force_reconstructor.press_sigma = v;
    }

    else if (strcmp(parameter, "a") == 0)
    {
        float v = 0.0f;

        int integer_part = 0;
        int decimal_part = 0;
        int decimal_digits = 0;

        while (*value_str >= '0' && *value_str <= '9')
        {
            integer_part = integer_part * 10 + (*value_str - '0');
            value_str++;
        }

        if (*value_str == '.')
        {
            value_str++;

            while (*value_str >= '0' && *value_str <= '9')
            {
                decimal_part = decimal_part * 10 + (*value_str - '0');
                decimal_digits++;
                value_str++;
            }
        }

        v = (float)integer_part;

        if (decimal_digits > 0)
        {
            float divisor = 1.0f;

            for (int i = 0; i < decimal_digits; i++)
                divisor *= 10.0f;

            v += (float)decimal_part / divisor;
        }

        if (v < 0.0f)
            v = 0.0f;

        if (v > 1.0f)
            v = 1.0f;

        force_reconstructor.alpha = v;
    }

    else if (strcmp(parameter, "s2n") == 0)
    {
        float v = 0.0f;

        int integer_part = 0;
        int decimal_part = 0;
        int decimal_digits = 0;

        while (*value_str >= '0' && *value_str <= '9')
        {
            integer_part = integer_part * 10 + (*value_str - '0');
            value_str++;
        }

        if (*value_str == '.')
        {
            value_str++;

            while (*value_str >= '0' && *value_str <= '9')
            {
                decimal_part = decimal_part * 10 + (*value_str - '0');
                decimal_digits++;
                value_str++;
            }
        }

        v = (float)integer_part;

        if (decimal_digits > 0)
        {
            float divisor = 1.0f;

            for (int i = 0; i < decimal_digits; i++)
                divisor *= 10.0f;

            v += (float)decimal_part / divisor;
        }

        if (v < 0.0f)
            v = 0.0f;

        force_reconstructor.signal2noise_ratio = v;
    }

    else if (strcmp(parameter, "rr") == 0)
    {
        float v = 0.0f;

        int integer_part = 0;
        int decimal_part = 0;
        int decimal_digits = 0;

        while (*value_str >= '0' && *value_str <= '9')
        {
            integer_part = integer_part * 10 + (*value_str - '0');
            value_str++;
        }

        if (*value_str == '.')
        {
            value_str++;

            while (*value_str >= '0' && *value_str <= '9')
            {
                decimal_part = decimal_part * 10 + (*value_str - '0');
                decimal_digits++;
                value_str++;
            }
        }

        v = (float)integer_part;

        if (decimal_digits > 0)
        {
            float divisor = 1.0f;

            for (int i = 0; i < decimal_digits; i++)
                divisor *= 10.0f;

            v += (float)decimal_part / divisor;
        }

        if (v < 0.0f)
            v = 0.0f;

        if (v > 1.0f)
            v = 1.0f;

        force_reconstructor.release_ratio = v;
    }
}

void parse_resetDefault_command(char *cmd)
{
    //Reset dei parametri ai valori di default e rilancio della calibrazione delle soglie, integral, max_integral e FSM vengono azzerati
    if (strncmp(cmd, "rd", 2) == 0)
    {
      ForceReconstructor_Init(&force_reconstructor);
    }
}

void parse_reset_command(char *cmd)
{
    //Reset integral, max_integral, FSM e rilancio della calibrazione delle soglie, i parametri configurati rimangono invariati
    if (strncmp(cmd, "r", 1) == 0)
    {
      reset_all(&force_reconstructor);
    }
}

static void enable_all_channels(void)
{
    for (int i = 0; i < NUM_CHANNELS; i++)
        channel_mask[i] = 1;

    num_active_channels = NUM_CHANNELS;
}

/* USER CODE END 4 */

 /* MPU Configuration */

void MPU_Config(void)
{
  //MPU_Region_InitTypeDef MPU_InitStruct = {0};

  /* Disables the MPU */
  HAL_MPU_Disable();

}

void Error_Handler(void)
{
  __disable_irq();
  while (1)
  {
  }
}
